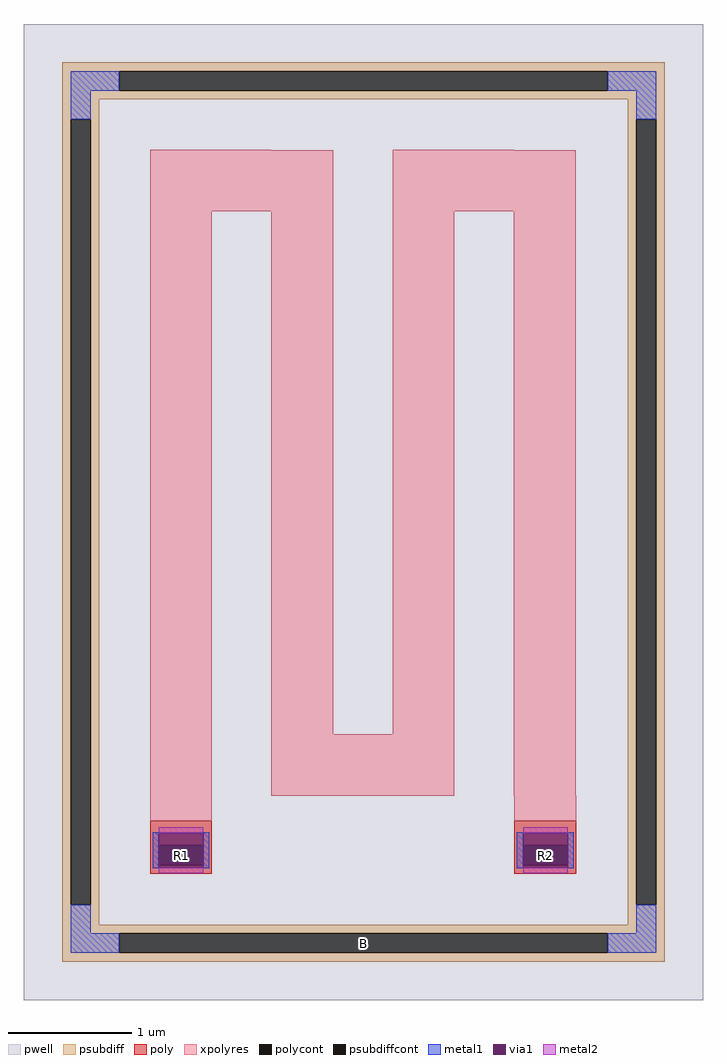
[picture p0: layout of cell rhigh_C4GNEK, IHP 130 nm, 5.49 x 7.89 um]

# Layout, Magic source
magic
tech ihp-sg13g2
magscale 1 2
<< pwell >>
rect -549 -789 549 789
<< psubdiff >>
rect -487 713 487 727
rect -487 681 -395 713
rect 395 681 487 713
rect -487 667 487 681
rect -487 635 -427 667
rect -487 -635 -473 635
rect -441 -635 -427 635
rect 427 635 487 667
rect -487 -667 -427 -635
rect 427 -635 441 635
rect 473 -635 487 635
rect 427 -667 487 -635
rect -487 -681 487 -667
rect -487 -713 -395 -681
rect 395 -713 487 -681
rect -487 -727 487 -713
<< psubdiffcont >>
rect -395 681 395 713
rect -473 -635 -441 635
rect 441 -635 473 635
rect -395 -713 395 -681
<< poly >>
rect -345 -539 -245 -499
rect -345 -571 -331 -539
rect -259 -571 -245 -539
rect -345 -585 -245 -571
rect 244 -539 344 -499
rect 244 -571 258 -539
rect 330 -571 344 -539
rect 244 -585 344 -571
<< polycont >>
rect -331 -571 -259 -539
rect 258 -571 330 -539
<< xpolyres >>
rect -345 585 -149 586
rect 47 585 243 586
rect -345 486 -49 585
rect -345 -499 -245 486
rect -149 -359 -49 486
rect 47 486 343 585
rect 47 -359 147 486
rect -149 -459 147 -359
rect 243 -459 343 486
rect 244 -499 344 -459
<< metal1 >>
rect -473 681 -395 713
rect 395 681 473 713
rect -473 635 -441 681
rect 441 635 473 681
rect -341 -519 -249 -518
rect -341 -575 -331 -519
rect -259 -575 -249 -519
rect -341 -576 -249 -575
rect 248 -519 340 -518
rect 248 -575 258 -519
rect 330 -575 340 -519
rect 248 -576 340 -575
rect -473 -681 -441 -635
rect 441 -681 473 -635
rect -473 -713 -395 -681
rect 395 -713 473 -681
<< via1 >>
rect -331 -539 -259 -519
rect -331 -571 -259 -539
rect -331 -575 -259 -571
rect 258 -539 330 -519
rect 258 -571 330 -539
rect 258 -575 330 -571
<< metal2 >>
rect -331 -519 -259 -510
rect -331 -584 -259 -575
rect 258 -519 330 -510
rect 258 -584 330 -575
<< labels >>
rlabel psubdiffcont 0 -697 0 -697 0 B
port 1 nsew
rlabel polycont -295 -555 -295 -555 0 R1
port 2 nsew
rlabel polycont 294 -555 294 -555 0 R2
port 3 nsew
<< properties >>
string FIXED_BBOX -457 -697 457 697
string gencell rhigh
string library sg13g2
string parameters w 0.501 l 5.224 m 1 nx 4 wmin 0.50 lmin 0.50 class resistor rho 1360 val 60.803k dummy 0 dw 0.0 term 0.0 sterm 0.0 caplen 0 guard 1 glc 1 grc 1 gtc 1 gbc 1 snake 1 full_metal 1 n_guard 0 hv_guard 0 vias 1 viagb 0 viagt 0 viagl 0 viagr 0 doports 1
<< end >>
